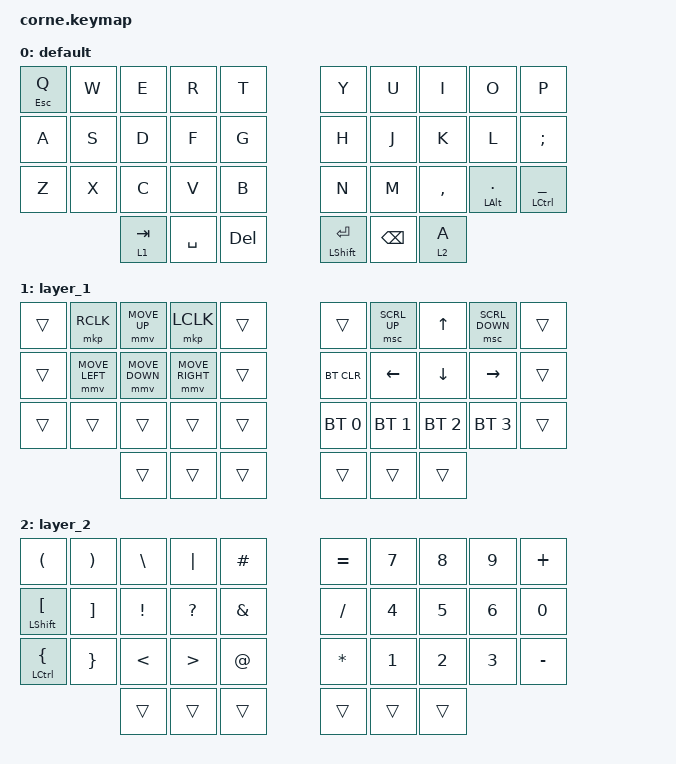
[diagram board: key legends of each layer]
/*
 * Clean keymap for Corne - compatible with Nick Coutsos Keymap Editor
 */

#include <behaviors.dtsi>
#include <dt-bindings/zmk/bt.h>
#include <dt-bindings/zmk/keys.h>
#include <dt-bindings/zmk/pointing.h>

/ {
    chosen { zmk,physical-layout = &foostan_corne_5col_layout; };

    combos {
        compatible = "zmk,combos";

        next_tab {
            bindings = <&kp LC(TAB)>;
            key-positions = <17 18>;
        };

        prev_tab {
            bindings = <&kp LC(LS(TAB))>;
            key-positions = <16 17>;
        };

        new_tab {
            bindings = <&kp LC(T)>;
            key-positions = <28 27>;
        };

        delete_tab {
            bindings = <&kp LC(W)>;
            key-positions = <27 26>;
        };

        close_program {
            bindings = <&kp LA(F4)>;
            key-positions = <27 28 26>;
        };

        open_terminal {
            bindings = <&kp LC(LA(T))>;
            key-positions = <2 1 3>;
        };

        switch_program {
            bindings = <&kp LA(TAB)>;
            key-positions = <16 17 18>;
        };

        next_virtual {
            bindings = <&kp LA(LC(RIGHT))>;
            key-positions = <13 12>;
        };

        prev_virtual {
            bindings = <&kp LC(LA(LEFT))>;
            key-positions = <11 12>;
        };

        right_monitor {
            bindings = <&kp LS(LG(RIGHT))>;
            key-positions = <2 13>;
        };

        left_monitor {
            bindings = <&kp LS(LG(LEFT_ARROW))>;
            key-positions = <2 11>;
        };

        window_next_desktop {
            bindings = <&kp LS(LG(PAGE_UP))>;
            key-positions = <22 23>;
        };

        window_prev_desktop {
            bindings = <&kp LS(LG(PAGE_DOWN))>;
            key-positions = <21 22>;
        };

        snap_right {
            bindings = <&kp LG(RIGHT)>;
            key-positions = <7 8>;
        };

        snap_left {
            bindings = <&kp LG(LEFT_ARROW)>;
            key-positions = <7 6>;
        };

        maximize {
            bindings = <&kp LG(UP_ARROW)>;
            key-positions = <8 6 7>;
        };
    };

    keymap {
        compatible = "zmk,keymap";

        default {
            bindings = <
&mt ESC Q  &kp W  &kp E      &kp R      &kp T      &kp Y                 &kp U     &kp I      &kp O                &kp P
&kp A      &kp S  &kp D      &kp F      &kp G      &kp H                 &kp J     &kp K      &kp L                &kp SEMI
&kp Z      &kp X  &kp C      &kp V      &kp B      &kp N                 &kp M     &kp COMMA  &mt LEFT_ALT PERIOD  &mt LEFT_CONTROL UNDERSCORE
                  &lt 1 TAB  &kp SPACE  &kp DEL    &mt LEFT_SHIFT ENTER  &kp BSPC  &lt 2 A
            >;
        };

        layer_1 {
            bindings = <
&trans  &mkp RCLK       &mmv MOVE_UP    &mkp LCLK        &trans    &trans        &msc SCRL_UP    &kp UP_ARROW    &msc SCRL_DOWN   &trans
&trans  &mmv MOVE_LEFT  &mmv MOVE_DOWN  &mmv MOVE_RIGHT  &trans    &bt BT_CLR    &kp LEFT_ARROW  &kp DOWN_ARROW  &kp RIGHT_ARROW  &trans
&trans  &trans          &trans          &trans           &trans    &bt BT_SEL 0  &bt BT_SEL 1    &bt BT_SEL 2    &bt BT_SEL 3     &trans
                                &trans          &trans           &trans    &trans        &trans          &trans
            >;
        };

        layer_2 {
            bindings = <
&kp LEFT_PARENTHESIS         &kp RIGHT_PARENTHESIS  &kp BACKSLASH  &kp PIPE          &kp HASH         &kp EQUAL     &kp N7        &kp N8        &kp N9        &kp PLUS
&mt LEFT_SHIFT LEFT_BRACKET  &kp RIGHT_BRACKET      &kp EXCL       &kp QUESTION      &kp AMPERSAND    &kp SLASH     &kp NUMBER_4  &kp N5        &kp NUMBER_6  &kp N0
&mt LEFT_CONTROL LEFT_BRACE  &kp RIGHT_BRACE        &kp LESS_THAN  &kp GREATER_THAN  &kp AT           &kp ASTERISK  &kp NUMBER_1  &kp NUMBER_2  &kp NUMBER_3  &kp MINUS
                                                            &trans         &trans            &trans           &trans        &trans        &trans
            >;
        };
    };
};
